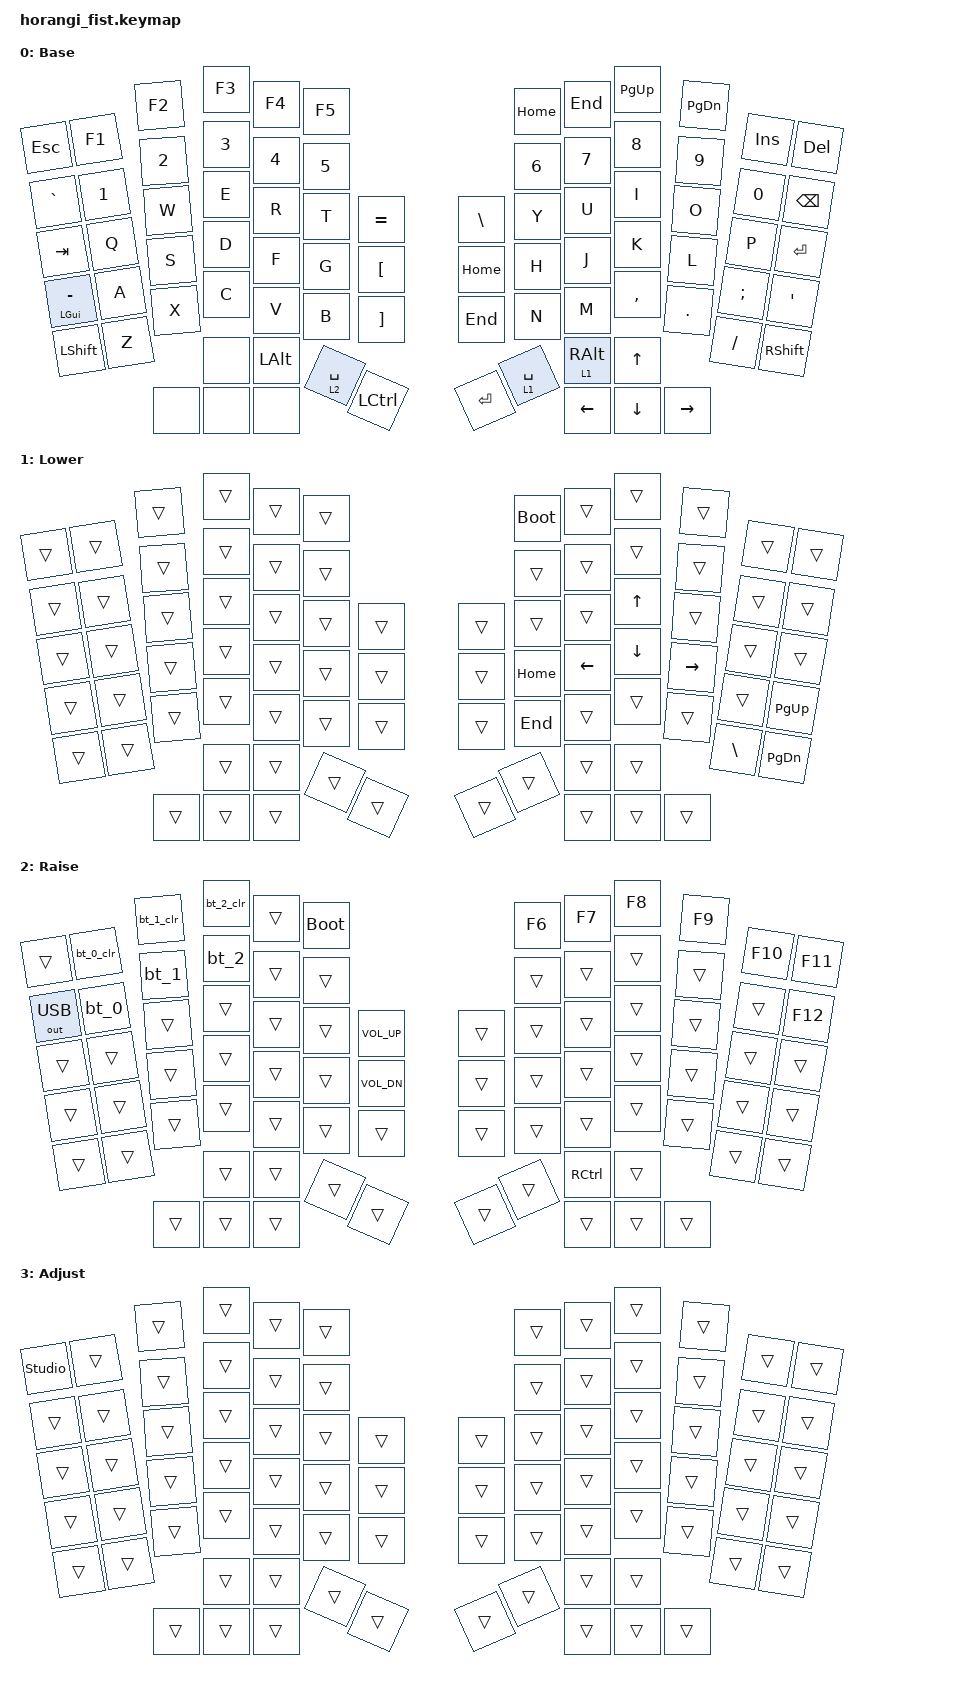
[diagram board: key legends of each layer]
#include <behaviors.dtsi>
#include <dt-bindings/zmk/keys.h>
#include <dt-bindings/zmk/bt.h>
#include <dt-bindings/zmk/outputs.h>

&mt {
    tapping-term-ms = <175>;
};

&lt {
    tapping-term-ms = <175>;
};

/
{

    behaviors {
        gresc: grave_escape {
            compatible = "zmk,behavior-mod-morph";
            display-name = "Grave/Escape";
            #binding-cells = <0>;
            bindings = <&kp ESC>, <&kp GRAVE>;
            mods = <(MOD_LGUI|MOD_LSFT|MOD_RGUI|MOD_RSFT|MOD_RALT)>;
            keep-mods = <(MOD_RSFT)>;
        };
        ht_tp: holdtap_tappreferred {
            compatible = "zmk,behavior-hold-tap";
            display-name = "Hold-tap (tap)";
            #binding-cells = <2>;
            flavor = "tap-preferred";
            tapping-term-ms = <175>;
            quick-tap-ms = <155>;
            bindings = <&kp>, <&kp>;
        };
        ht_hp: holdtap_holdpreferred {
            compatible = "zmk,behavior-hold-tap";
            display-name = "Hold-tap (hold)";
            #binding-cells = <2>;
            flavor = "hold-preferred";
            tapping-term-ms = <175>;
            quick-tap-ms = <155>;
            bindings = <&kp>, <&kp>;
        };
        ht_bl: holdtap_balanced {
            compatible = "zmk,behavior-hold-tap";
            display-name = "Hold-tap (balanced)";
            #binding-cells = <2>;
            flavor = "balanced";
            tapping-term-ms = <175>;
            quick-tap-ms = <155>;
            bindings = <&kp>, <&kp>;
        };
    };

    macros {
        bt_0: bt_profile_macro_0 {
            display-name = "BT 0";
            compatible = "zmk,behavior-macro";
            #binding-cells = <0>;
            bindings
                = <&out OUT_BLE>
                , <&bt BT_SEL 0>;
        };

        bt_1: bt_profile_macro_1 {
            display-name = "BT 1";
            compatible = "zmk,behavior-macro";
            #binding-cells = <0>;
            bindings
                = <&out OUT_BLE>
                , <&bt BT_SEL 1>;
        };

        bt_2: bt_profile_macro_2 {
            display-name = "BT 2";
            compatible = "zmk,behavior-macro";
            #binding-cells = <0>;
            bindings
                = <&out OUT_BLE>
                , <&bt BT_SEL 2>;
        };

        bt_0_clr: bt_profile_macro_0_clr {
            display-name = "BT 0 clear";
            compatible = "zmk,behavior-macro";
            #binding-cells = <0>;
            bindings
                = <&out OUT_BLE>
                , <&bt BT_SEL 0>
                , <&macro_wait_time 1000>
                , <&bt BT_CLR>;
        };

        bt_1_clr: bt_profile_macro_1_clr {
            display-name = "BT 1 clear";
            compatible = "zmk,behavior-macro";
            #binding-cells = <0>;
            bindings
                = <&out OUT_BLE>
                , <&bt BT_SEL 1>
                , <&macro_wait_time 1000>
                , <&bt BT_CLR>;
        };

        bt_2_clr: bt_profile_macro_2_clr {
            display-name = "BT 2 clear";
            compatible = "zmk,behavior-macro";
            #binding-cells = <0>;
            bindings
                = <&out OUT_BLE>
                , <&bt BT_SEL 2>
                , <&macro_wait_time 1000>
                , <&bt BT_CLR>;
        };
    };

    conditional_layers {
        compatible = "zmk,conditional-layers";
        tri_layer {
            if-layers = <1 2>;
            then-layer = <3>;
        };
    };

    keymap {
        compatible = "zmk,keymap";

        default_layer {
            display-name = "Base";
            bindings = <
&kp ESC     &kp F1  &kp F2    &kp F3    &kp F4      &kp F5                                &kp HOME  &kp END  &kp PG_UP  &kp PG_DN &kp INS    &kp DEL
&kp GRAVE   &kp N1  &kp N2    &kp N3    &kp N4      &kp N5                                &kp N6    &kp N7   &kp N8     &kp N9   &kp N0      &kp BSPC
&kp TAB     &kp Q   &kp W     &kp E     &kp R       &kp T    &kp EQUAL          &kp BSLH  &kp Y     &kp U    &kp I      &kp O    &kp P       &kp ENTER
&mt LGUI MINUS &kp A &kp S    &kp D     &kp F       &kp G    &kp LBKT           &kp HOME  &kp H     &kp J    &kp K      &kp L    &kp SEMI    &kp SQT
&kp LSHFT   &kp Z   &kp X     &kp C     &kp V       &kp B    &kp RBKT           &kp END   &kp N     &kp M    &kp COMMA  &kp DOT  &kp FSLH    &kp RSHFT
                              &none     &kp LALT &lt 2 SPACE &kp LCTRL          &kp ENTER &lt 1 SPACE &lt 1 RALT &kp UP
                    &none     &none     &none                                                       &kp LEFT &kp DOWN   &kp RIGHT
            >;
        };

        lower_layer {
            display-name = "Lower";
            bindings = <
&trans       &trans    &trans    &trans    &trans      &trans                                &bootloader &trans   &trans     &trans   &trans      &trans
&trans       &trans    &trans    &trans    &trans      &trans                                &trans    &trans   &trans     &trans   &trans      &trans
&trans       &trans    &trans    &trans    &trans      &trans   &trans             &trans    &trans    &trans   &kp UP     &trans   &trans      &trans
&trans       &trans    &trans    &trans    &trans      &trans   &trans             &trans    &kp HOME  &kp LEFT &kp DOWN   &kp RIGHT &trans     &kp PG_UP
&trans       &trans    &trans    &trans    &trans      &trans   &trans             &trans    &kp END   &trans   &trans     &trans   &kp BSLH    &kp PG_DN
                                 &trans    &trans      &trans   &trans             &trans    &trans    &trans   &trans
                       &trans    &trans    &trans                                                      &trans   &trans     &trans
            >;
        };

        raise_layer {
            display-name = "Raise";
            bindings = <
&trans       &bt_0_clr &bt_1_clr &bt_2_clr &trans      &bootloader                           &kp F6    &kp F7   &kp F8     &kp F9   &kp F10     &kp F11
&out OUT_USB &bt_0     &bt_1     &bt_2     &trans      &trans                                &trans    &trans   &trans     &trans   &trans      &kp F12
&trans       &trans    &trans    &trans    &trans      &trans   &kp C_VOL_UP       &trans    &trans    &trans   &trans     &trans   &trans      &trans
&trans       &trans    &trans    &trans    &trans      &trans   &kp C_VOL_DN       &trans    &trans    &trans   &trans     &trans   &trans      &trans
&trans       &trans    &trans    &trans    &trans      &trans   &trans             &trans    &trans    &trans   &trans     &trans   &trans      &trans
                                 &trans    &trans      &trans   &trans             &trans    &trans    &kp RCTRL &trans
                       &trans    &trans    &trans                                                      &trans   &trans     &trans
            >;
        };

        adjust_layer {
            display-name = "Adjust";
            bindings = <
&studio_unlock       &trans    &trans    &trans    &trans      &trans                                &trans    &trans   &trans     &trans   &trans      &trans
&trans       &trans    &trans    &trans    &trans      &trans                                &trans    &trans   &trans     &trans   &trans      &trans
&trans       &trans    &trans    &trans    &trans      &trans   &trans             &trans    &trans    &trans   &trans     &trans   &trans      &trans
&trans       &trans    &trans    &trans    &trans      &trans   &trans             &trans    &trans    &trans   &trans     &trans   &trans      &trans
&trans       &trans    &trans    &trans    &trans      &trans   &trans             &trans    &trans    &trans   &trans     &trans   &trans      &trans
                                 &trans    &trans      &trans   &trans             &trans    &trans    &trans   &trans
                       &trans    &trans    &trans                                                      &trans   &trans     &trans
            >;

        };

        /*
         * Studio 는 devicetree 에 있는 레이어 개수까지만 쓸 수 있고 새로 만들지 못합니다.
         * reserved 레이어는 일반 빌드에서는 완전히 무시되고, Studio 빌드에서만 나타납니다.
         * 반드시 adjust_layer '뒤에' 두세요 - 레이어 ID 가 자식 노드 순서라서
         * 앞에 끼우면 conditional_layers 의 <1 2> -> 3 이 어긋납니다.
         */
        extra1 {
            status = "reserved";
            display-name = "Extra 1";
        };

        extra2 {
            status = "reserved";
            display-name = "Extra 2";
        };

    };
};
